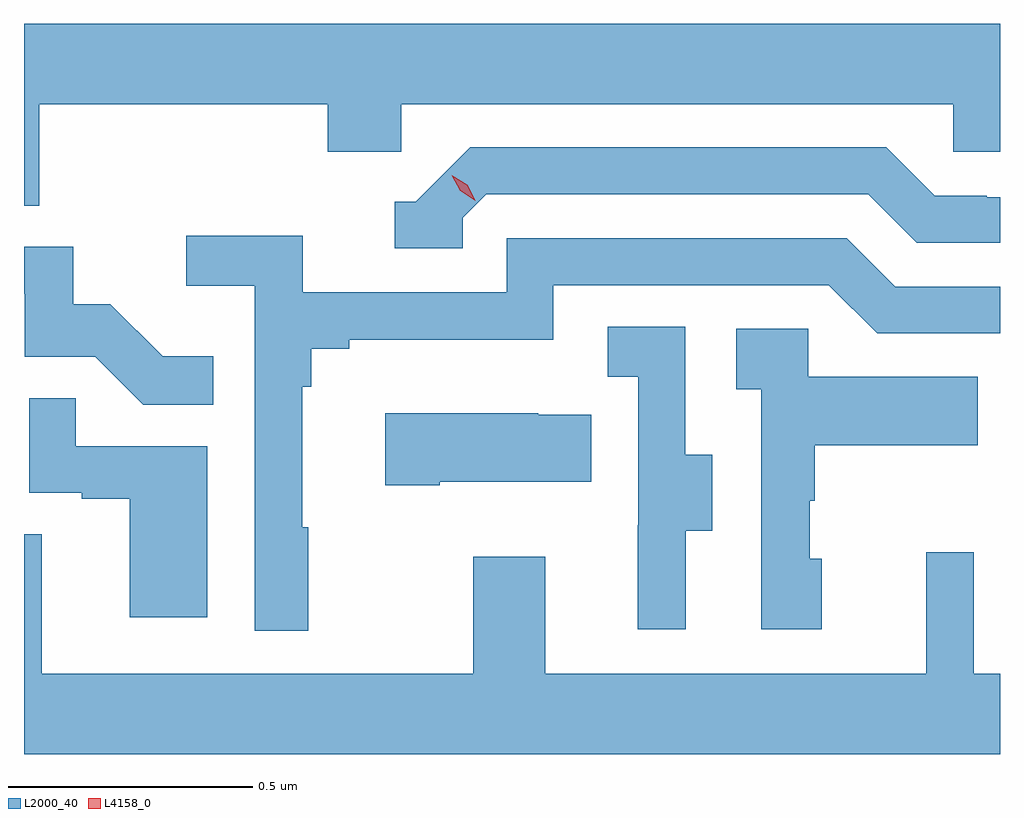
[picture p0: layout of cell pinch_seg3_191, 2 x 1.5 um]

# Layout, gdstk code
import gdstk
lib = gdstk.Library(unit=1e-6, precision=1e-09)
def P(c, l, *ps):  # polygons
    for p in ps: c.add(gdstk.Polygon(p, *l))
L2000_40 = (2000, 40)
L4158_0 = (4158, 0)

pinch_seg3_191 = lib.new_cell('pinch_seg3_191')
P(pinch_seg3_191, L2000_40, [(981.452,738.212),(982.043,738.212),(982.043,738.114),(982.194,738.114),(982.194,738.212),(983.325,738.212),(983.325,738.114),(983.421,738.114),(983.421,738.376),(981.421,738.376),(981.421,738.004),(981.452,738.004)],
  [(982.32,737.979),(982.368,738.027),(983.151,738.027),(983.25,737.928),(983.421,737.928),(983.421,738.021),(983.394,738.021),(983.394,738.024),(983.287,738.024),(983.188,738.123),(982.335,738.123),(982.224,738.012),(982.181,738.012),(982.181,737.916),(982.32,737.916)],
  [(982.003,737.345),(981.991,737.345),(981.991,737.633),(982.01,737.633),(982.01,737.71),(982.087,737.71),(982.087,737.729),(982.506,737.729),(982.506,737.841),(983.07,737.841),(983.169,737.742),(983.421,737.742),(983.421,737.838),(983.206,737.838),(983.107,737.937),(982.41,737.937),(982.41,737.826),(981.992,737.826),(981.992,737.942),(981.753,737.942),(981.753,737.84),(981.894,737.84),(981.894,737.133),(982.003,737.133)],
  [(981.809,737.695),(981.705,737.695),(981.598,737.802),(981.522,737.802),(981.522,737.919),(981.421,737.919),(981.421,737.823),(981.423,737.823),(981.423,737.694),(981.567,737.694),(981.665,737.596),(981.809,737.596)],
  [(982.777,737.338),(982.831,737.338),(982.831,737.493),(982.776,737.493),(982.776,737.756),(982.617,737.756),(982.617,737.653),(982.68,737.653),(982.68,737.349),(982.679,737.349),(982.679,737.136),(982.777,737.136)],
  [(983.056,737.28),(983.031,737.28),(983.031,737.399),(983.041,737.399),(983.041,737.513),(983.375,737.513),(983.375,737.653),(983.028,737.653),(983.028,737.751),(982.881,737.751),(982.881,737.627),(982.932,737.627),(982.932,737.136),(983.056,737.136)],
  [(981.796,737.511),(981.527,737.511),(981.527,737.609),(981.432,737.609),(981.432,737.415),(981.539,737.415),(981.539,737.403),(981.638,737.403),(981.638,737.16),(981.796,737.16)],
  [(982.273,737.438),(982.583,737.438),(982.583,737.575),(982.475,737.575),(982.475,737.578),(982.161,737.578),(982.161,737.431),(982.273,737.431)],
  [(981.421,737.33),(981.421,736.88),(983.421,736.88),(983.421,737.044),(983.367,737.044),(983.367,737.293),(983.27,737.293),(983.27,737.044),(982.489,737.044),(982.489,737.284),(982.342,737.284),(982.342,737.044),(981.457,737.044),(981.457,737.33)])
P(pinch_seg3_191, L4158_0, [(982.346,738.014),(982.315,738.034),(982.298,738.066),(982.298,738.066),(982.298,738.066),(982.329,738.047),(982.346,738.015),(982.346,738.014)])

lib.write_gds('pinch_seg3_191.gds')
